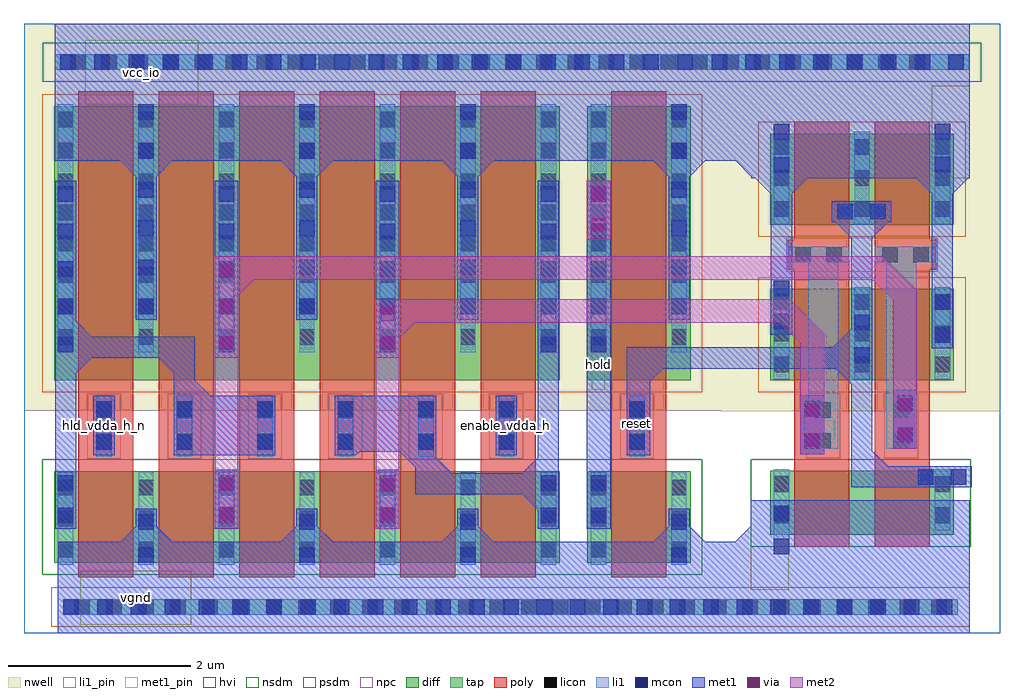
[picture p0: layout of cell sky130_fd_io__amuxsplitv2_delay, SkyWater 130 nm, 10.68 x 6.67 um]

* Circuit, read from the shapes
.subckt sky130_fd_io__amuxsplitv2_delay enable_vdda_h hld_vdda_h_n hold reset vcc_io vgnd
XM1 vgnd hld_vdda_h_n n1 vgnd sky130_fd_pr__nfet_g5v0d10v5 w=1 l=0.6
XM2 n2 n1 vgnd vgnd sky130_fd_pr__nfet_g5v0d10v5 w=1 l=0.6 m=2
XM3 sky130_fd_io__amuxsplitv2_hvsbt_nand2_0/in0 n3 vgnd vgnd sky130_fd_pr__nfet_g5v0d10v5 w=1 l=0.6 m=2
XM4 n3 enable_vdda_h vgnd vgnd sky130_fd_pr__nfet_g5v0d10v5 w=1 l=0.6
XM5 vgnd reset hold vgnd sky130_fd_pr__nfet_g5v0d10v5 w=1 l=0.6
XM6 n4 sky130_fd_io__amuxsplitv2_hvsbt_nand2_0/in0 vgnd vgnd sky130_fd_pr__nfet_g5v0d10v5 w=0.7 l=0.6
XM7 reset n2 n4 vgnd sky130_fd_pr__nfet_g5v0d10v5 w=0.7 l=0.6
XM8 vcc_io hld_vdda_h_n n1 vcc_io sky130_fd_pr__pfet_g5v0d10v5 w=3 l=0.6
XM9 n2 n1 vcc_io vcc_io sky130_fd_pr__pfet_g5v0d10v5 w=3 l=0.6 m=2
XM10 sky130_fd_io__amuxsplitv2_hvsbt_nand2_0/in0 n3 vcc_io vcc_io sky130_fd_pr__pfet_g5v0d10v5 w=3 l=0.6 m=2
XM11 n3 enable_vdda_h vcc_io vcc_io sky130_fd_pr__pfet_g5v0d10v5 w=3 l=0.6
XM12 vcc_io reset hold vcc_io sky130_fd_pr__pfet_g5v0d10v5 w=3 l=0.6
XM13 reset sky130_fd_io__amuxsplitv2_hvsbt_nand2_0/in0 vcc_io vcc_io sky130_fd_pr__pfet_g5v0d10v5 w=1 l=0.6 m=2
XM14 vcc_io n2 reset vcc_io sky130_fd_pr__pfet_g5v0d10v5 w=1 l=0.6 m=2
.ends

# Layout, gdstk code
from math import pi, radians
import gdstk
lib = gdstk.Library(unit=1e-6, precision=1e-09)
def R(c, l, rs):  # rectangles x0, y0, x1, y1
    for r in rs: c.add(gdstk.rectangle(r[:2], r[2:], *l))
def A(c, l, x, y, w, h, nx, ny, dx, dy):  # array of equal rectangles
    R(c, l, [(x+i*dx, y+j*dy, x+i*dx+w, y+j*dy+h) for i in range(nx) for j in range(ny)])
def P(c, l, *ps):  # polygons
    for p in ps: c.add(gdstk.Polygon(p, *l))
nwell = (64, 20)
diff = (65, 20)
tap = (65, 44)
poly = (66, 20)
licon = (66, 44)
li1_pin = (67, 16)
li1 = (67, 20)
mcon = (67, 44)
met1_pin = (68, 16)
met1 = (68, 20)
via = (68, 44)
met2 = (69, 20)
hvi = (75, 20)
nsdm = (93, 44)
psdm = (94, 20)
npc = (95, 20)

dfl1sd_cdns_559591418086 = lib.new_cell('DFL1sd_CDNS_559591418086')
R(dfl1sd_cdns_559591418086, nwell, [(-0.18,-0.18,0.445,1.18)])
R(dfl1sd_cdns_559591418086, diff, [(0,0,0.265,1)])
A(dfl1sd_cdns_559591418086, licon, 0.055, 0.06, 0.17, 0.17, 1, 3, 0, 0.34)
R(dfl1sd_cdns_559591418086, li1, [(0.055,-0.02,0.225,0.99)])
R(dfl1sd_cdns_559591418086, psdm, [(-0.13,-0.13,0.395,1.13)])

pfet_cdns_559591418085 = lib.new_cell('pfet_CDNS_559591418085')
R(pfet_cdns_559591418085, nwell, [(-0.595,-0.33,1.195,1.33), (-0.445,-0.18,1.045,1.18)])
R(pfet_cdns_559591418085, diff, [(-0.25,0,0,1), (0,0,0.6,1), (0.6,0,0.85,1)])
R(pfet_cdns_559591418085, poly, [(0,-0.13,0.6,1.13), (0,-0.13,0.6,0), (0,1,0.6,1.13)])
R(pfet_cdns_559591418085, li1, [(-0.225,-0.02,-0.055,0.99), (0.655,-0.02,0.825,0.99)])
R(pfet_cdns_559591418085, hvi, [(-0.595,-0.33,1.195,1.33)])
R(pfet_cdns_559591418085, psdm, [(-0.25,-0.13,0.85,1.13)])
pfet_cdns_559591418085.add(gdstk.Reference(dfl1sd_cdns_559591418086, (0.6,0)))
pfet_cdns_559591418085.add(gdstk.Reference(dfl1sd_cdns_559591418086, (0,0), rotation=pi, x_reflection=True))
pfet_cdns_559591418085.add(gdstk.Label('D', (0.74,0.485), layer=83, texttype=44))
pfet_cdns_559591418085.add(gdstk.Label('S', (-0.14,0.485), layer=83, texttype=44))

dfl1sd_cdns_559591418088 = lib.new_cell('DFL1sd_CDNS_559591418088')
R(dfl1sd_cdns_559591418088, diff, [(0,0,0.265,0.7)])
R(dfl1sd_cdns_559591418088, licon, [(0.055,0.06,0.225,0.23), (0.055,0.4,0.225,0.57)])
R(dfl1sd_cdns_559591418088, li1, [(0.055,-0.02,0.225,0.65)])
R(dfl1sd_cdns_559591418088, nsdm, [(-0.13,-0.13,0.395,0.83)])

nfet_cdns_559591418087 = lib.new_cell('nfet_CDNS_559591418087')
R(nfet_cdns_559591418087, diff, [(-0.25,0,0,0.7), (0,0,0.6,0.7), (0.6,0,0.85,0.7)])
R(nfet_cdns_559591418087, poly, [(0,-0.13,0.6,0.83), (0,-0.13,0.6,0), (0,0.7,0.6,0.83)])
R(nfet_cdns_559591418087, li1, [(0.655,-0.02,0.825,0.65)])
R(nfet_cdns_559591418087, hvi, [(-0.43,-0.18,1.045,0.88)])
R(nfet_cdns_559591418087, nsdm, [(-0.38,-0.13,0.85,0.83)])
nfet_cdns_559591418087.add(gdstk.Reference(dfl1sd_cdns_559591418088, (0.6,0)))
nfet_cdns_559591418087.add(gdstk.Label('D', (0.74,0.315), layer=83, texttype=44))
nfet_cdns_559591418087.add(gdstk.Label('S', (-0.125,0.35), layer=83, texttype=44))

nfet_cdns_559591418089 = lib.new_cell('nfet_CDNS_559591418089')
R(nfet_cdns_559591418089, diff, [(-0.25,0,0,0.7), (0,0,0.6,0.7), (0.6,0,0.85,0.7)])
R(nfet_cdns_559591418089, poly, [(0,-0.13,0.6,0.83), (0,-0.13,0.6,0), (0,0.7,0.6,0.83)])
R(nfet_cdns_559591418089, li1, [(-0.225,-0.02,-0.055,0.65)])
R(nfet_cdns_559591418089, hvi, [(-0.445,-0.18,1.03,0.88)])
R(nfet_cdns_559591418089, nsdm, [(-0.25,-0.13,0.98,0.83)])
nfet_cdns_559591418089.add(gdstk.Reference(dfl1sd_cdns_559591418088, (0,0), rotation=pi, x_reflection=True))
nfet_cdns_559591418089.add(gdstk.Label('D', (0.725,0.35), layer=83, texttype=44))
nfet_cdns_559591418089.add(gdstk.Label('S', (-0.14,0.315), layer=83, texttype=44))

pyl1_cdns_559591418083 = lib.new_cell('PYL1_CDNS_559591418083')
R(pyl1_cdns_559591418083, poly, [(0,0,0.67,0.33)])
R(pyl1_cdns_559591418083, licon, [(0.08,0.08,0.25,0.25), (0.42,0.08,0.59,0.25)])
R(pyl1_cdns_559591418083, li1, [(0.08,0,0.59,0.33)])
R(pyl1_cdns_559591418083, npc, [(-0.02,-0.02,0.69,0.35)])

l1m1_cdns_559591418084 = lib.new_cell('L1M1_CDNS_559591418084')
R(l1m1_cdns_559591418084, li1, [(0,0,0.53,0.17)])
R(l1m1_cdns_559591418084, mcon, [(0,0,0.17,0.17), (0.36,0,0.53,0.17)])
R(l1m1_cdns_559591418084, met1, [(-0.06,-0.03,0.59,0.2)])

sky130_fd_io__amuxsplitv = lib.new_cell('sky130_fd_io__amuxsplitv2_hvsbt_nand2')
R(sky130_fd_io__amuxsplitv, nwell, [(-0.21,2.075,2.845,5.61)])
R(sky130_fd_io__amuxsplitv, poly, [(0.595,1.53,1.195,2.48), (1.475,1.55,2.075,2.48), (0.595,3.54,1.195,3.62), (1.475,3.54,2.075,3.62), (0.525,3.62,1.195,3.95), (1.475,3.62,2.145,3.95), (0.595,3.95,1.195,3.995), (1.475,3.95,2.075,3.99)])
R(sky130_fd_io__amuxsplitv, licon, [(0.605,3.7,0.775,3.87), (0.945,3.7,1.115,3.87), (1.555,3.7,1.725,3.87), (1.895,3.7,2.065,3.87)])
R(sky130_fd_io__amuxsplitv, li1_pin, [(0.78,1.765,1.035,1.97)])
R(sky130_fd_io__amuxsplitv, li1, [(1.945,1.27,2.475,1.44), (0.745,2.095,1.075,3.785), (1.6,2.095,1.93,3.785), (1.25,2.6,1.42,3.13), (2.13,2.82,2.3,3.35), (0.37,2.97,0.54,3.5), (0.525,3.7,1.195,3.87), (1.475,3.7,2.145,3.87), (1.065,4.17,1.595,4.34), (2.13,4.6,2.3,5.215), (0.37,4.62,0.54,5.215), (0.37,4.68,0.54,5.21)])
R(sky130_fd_io__amuxsplitv, mcon, [(1.945,1.27,2.115,1.44), (2.305,1.27,2.475,1.44), (1.25,2.6,1.42,2.77), (2.13,2.82,2.3,2.99), (1.25,2.96,1.42,3.13), (0.37,2.97,0.54,3.14), (2.13,3.18,2.3,3.35), (0.37,3.33,0.54,3.5), (1.065,4.17,1.235,4.34), (1.425,4.17,1.595,4.34), (0.37,4.68,0.54,4.85), (0.37,5.04,0.54,5.21)])
R(sky130_fd_io__amuxsplitv, met1_pin, [(0.12,0.12,0.535,1.1), (2.1,4.62,2.515,5.635)])
R(sky130_fd_io__amuxsplitv, met1, [(0.12,0.12,2.515,1.1), (1.22,1.24,1.91,1.47), (1.885,1.24,2.535,1.47), (1.22,1.33,1.45,4.37), (1.22,2.54,1.45,3.19), (2.1,2.76,2.33,3.41), (0.34,2.91,0.57,3.56), (2.1,3.28,2.33,4.825), (0.34,3.465,0.57,4.68), (1.005,4.14,1.655,4.37), (0.125,4.62,2.515,5.635), (0.34,4.62,0.57,5.27)])
R(sky130_fd_io__amuxsplitv, hvi, [(-0.21,0,2.845,5.61)])
R(sky130_fd_io__amuxsplitv, nsdm, [(0.12,0.59,2.525,1.55)])
R(sky130_fd_io__amuxsplitv, npc, [(0.505,3.6,1.215,3.97), (1.455,3.6,2.165,3.97)])
sky130_fd_io__amuxsplitv.add(gdstk.Reference(pfet_cdns_559591418085, (1.475,3.41), x_reflection=True))
sky130_fd_io__amuxsplitv.add(gdstk.Reference(pfet_cdns_559591418085, (0.595,3.41), x_reflection=True))
sky130_fd_io__amuxsplitv.add(gdstk.Reference(pfet_cdns_559591418085, (1.475,5.11), x_reflection=True))
sky130_fd_io__amuxsplitv.add(gdstk.Reference(pfet_cdns_559591418085, (0.595,5.11), x_reflection=True))
sky130_fd_io__amuxsplitv.add(gdstk.Reference(nfet_cdns_559591418087, (1.475,1.42), x_reflection=True))
sky130_fd_io__amuxsplitv.add(gdstk.Reference(nfet_cdns_559591418089, (0.595,1.42), x_reflection=True))
sky130_fd_io__amuxsplitv.add(gdstk.Reference(pyl1_cdns_559591418083, (1.075,1.58), rotation=pi/2))
sky130_fd_io__amuxsplitv.add(gdstk.Reference(pyl1_cdns_559591418083, (1.93,1.58), rotation=pi/2))
sky130_fd_io__amuxsplitv.add(gdstk.Reference(l1m1_cdns_559591418084, (0.54,1.04), rotation=3*pi/2, x_reflection=True))
sky130_fd_io__amuxsplitv.add(gdstk.Reference(l1m1_cdns_559591418084, (2.3,4.685), rotation=pi/2))
sky130_fd_io__amuxsplitv.add(gdstk.Label('vgnd', (0.37,0.685), layer=68, texttype=5))
sky130_fd_io__amuxsplitv.add(gdstk.Label('vpwr', (2.23,5.13), layer=68, texttype=5))
sky130_fd_io__amuxsplitv.add(gdstk.Label('in0', (0.905,1.87), layer=67, texttype=5))

dfl1sd_cdns_559591418081 = lib.new_cell('DFL1sd_CDNS_5595914180811')
R(dfl1sd_cdns_559591418081, nwell, [(-0.18,-0.18,0.445,3.18)])
R(dfl1sd_cdns_559591418081, diff, [(0,0,0.265,3)])
A(dfl1sd_cdns_559591418081, licon, 0.055, 0.06, 0.17, 0.17, 1, 8, 0, 0.34)
R(dfl1sd_cdns_559591418081, li1, [(0.055,-0.02,0.225,2.69)])
R(dfl1sd_cdns_559591418081, psdm, [(-0.13,-0.13,0.395,3.13)])

dfl1sd2_cdns_55959141808 = lib.new_cell('DFL1sd2_CDNS_5595914180812')
R(dfl1sd2_cdns_55959141808, nwell, [(-0.18,-0.18,0.46,3.18)])
R(dfl1sd2_cdns_55959141808, diff, [(0,0,0.28,3)])
A(dfl1sd2_cdns_55959141808, licon, 0.055, 0.06, 0.17, 0.17, 1, 8, 0, 0.34)
R(dfl1sd2_cdns_55959141808, li1, [(0.055,-0.02,0.225,2.69)])
R(dfl1sd2_cdns_55959141808, psdm, [(-0.13,-0.13,0.41,3.13)])

pfet_cdns_5595914180810 = lib.new_cell('pfet_CDNS_5595914180810')
R(pfet_cdns_5595914180810, nwell, [(-0.595,-0.33,2.075,3.33), (-0.445,-0.18,1.925,3.18)])
R(pfet_cdns_5595914180810, diff, [(-0.25,0,0,3), (0,0,0.6,3), (0.88,0,1.48,3), (1.48,0,1.73,3)])
R(pfet_cdns_5595914180810, poly, [(0,-0.16,0.6,3.16), (0,-0.16,0.6,0), (0.88,-0.16,1.48,3.16), (0.88,-0.16,1.48,0), (0,3,0.6,3.16), (0.88,3,1.48,3.16)])
A(pfet_cdns_5595914180810, li1, -0.225, -0.02, 0.17, 2.71, 3, 1, 0.88, 0)
R(pfet_cdns_5595914180810, hvi, [(-0.595,-0.33,2.075,3.33)])
R(pfet_cdns_5595914180810, psdm, [(-0.25,-0.13,0.6,3.13), (0.63,-0.13,1.73,3.13)])
pfet_cdns_5595914180810.add(gdstk.Reference(dfl1sd_cdns_559591418081, (1.48,0)))
pfet_cdns_5595914180810.add(gdstk.Reference(dfl1sd_cdns_559591418081, (0,0), rotation=pi, x_reflection=True))
pfet_cdns_5595914180810.add(gdstk.Reference(dfl1sd2_cdns_55959141808, (0.6,0)))
pfet_cdns_5595914180810.add(gdstk.Label('S', (1.62,1.335), layer=83, texttype=44))
pfet_cdns_5595914180810.add(gdstk.Label('D', (0.74,1.335), layer=83, texttype=44))
pfet_cdns_5595914180810.add(gdstk.Label('S', (-0.14,1.335), layer=83, texttype=44))

pfet_cdns_5595914180813 = lib.new_cell('pfet_CDNS_5595914180813')
R(pfet_cdns_5595914180813, nwell, [(-0.595,-0.33,1.195,3.33), (-0.445,-0.18,1.045,3.18)])
R(pfet_cdns_5595914180813, diff, [(-0.25,0,0,3), (0,0,0.6,3), (0.6,0,0.85,3)])
R(pfet_cdns_5595914180813, poly, [(0,-0.16,0.6,3.16), (0,-0.16,0.6,0), (0,3,0.6,3.16)])
R(pfet_cdns_5595914180813, li1, [(-0.225,-0.02,-0.055,2.69), (0.655,-0.02,0.825,2.69)])
R(pfet_cdns_5595914180813, hvi, [(-0.595,-0.33,1.195,3.33)])
R(pfet_cdns_5595914180813, psdm, [(-0.25,-0.13,0.85,3.13)])
pfet_cdns_5595914180813.add(gdstk.Reference(dfl1sd_cdns_559591418081, (0.6,0)))
pfet_cdns_5595914180813.add(gdstk.Reference(dfl1sd_cdns_559591418081, (0,0), rotation=pi, x_reflection=True))
pfet_cdns_5595914180813.add(gdstk.Label('D', (0.74,1.335), layer=83, texttype=44))
pfet_cdns_5595914180813.add(gdstk.Label('S', (-0.14,1.335), layer=83, texttype=44))

c_dfl1sd_cdns_559591418081 = lib.new_cell('DFL1sd_CDNS_5595914180815')
R(c_dfl1sd_cdns_559591418081, diff, [(0,0,0.265,1)])
A(c_dfl1sd_cdns_559591418081, licon, 0.055, 0.06, 0.17, 0.17, 1, 3, 0, 0.34)
R(c_dfl1sd_cdns_559591418081, li1, [(0.055,-0.02,0.225,0.99)])
R(c_dfl1sd_cdns_559591418081, nsdm, [(-0.13,-0.13,0.395,1.13)])

c_dfl1sd2_cdns_55959141808 = lib.new_cell('DFL1sd2_CDNS_5595914180816')
R(c_dfl1sd2_cdns_55959141808, diff, [(0,0,0.28,1)])
A(c_dfl1sd2_cdns_55959141808, licon, 0.055, 0.06, 0.17, 0.17, 1, 3, 0, 0.34)
R(c_dfl1sd2_cdns_55959141808, li1, [(0.055,-0.02,0.225,0.99)])
R(c_dfl1sd2_cdns_55959141808, nsdm, [(-0.13,-0.13,0.41,1.13)])

nfet_cdns_5595914180814 = lib.new_cell('nfet_CDNS_5595914180814')
R(nfet_cdns_5595914180814, diff, [(-0.25,0,0,1), (0,0,0.6,1), (0.88,0,1.48,1), (1.48,0,1.73,1)])
R(nfet_cdns_5595914180814, poly, [(0,-0.16,0.6,1.16), (0,-0.16,0.6,0), (0.88,-0.16,1.48,1.16), (0.88,-0.16,1.48,0), (0,1,0.6,1.16), (0.88,1,1.48,1.16)])
A(nfet_cdns_5595914180814, li1, -0.225, -0.02, 0.17, 1.01, 3, 1, 0.88, 0)
R(nfet_cdns_5595914180814, hvi, [(-0.445,-0.18,1.925,1.18)])
R(nfet_cdns_5595914180814, nsdm, [(-0.25,-0.13,0.6,1.13), (0.63,-0.13,1.73,1.13)])
nfet_cdns_5595914180814.add(gdstk.Reference(c_dfl1sd_cdns_559591418081, (1.48,0)))
nfet_cdns_5595914180814.add(gdstk.Reference(c_dfl1sd_cdns_559591418081, (0,0), rotation=pi, x_reflection=True))
nfet_cdns_5595914180814.add(gdstk.Reference(c_dfl1sd2_cdns_55959141808, (0.6,0)))
nfet_cdns_5595914180814.add(gdstk.Label('S', (1.62,0.485), layer=83, texttype=44))
nfet_cdns_5595914180814.add(gdstk.Label('D', (0.74,0.485), layer=83, texttype=44))
nfet_cdns_5595914180814.add(gdstk.Label('S', (-0.14,0.485), layer=83, texttype=44))

nfet_cdns_5595914180817 = lib.new_cell('nfet_CDNS_5595914180817')
R(nfet_cdns_5595914180817, diff, [(-0.25,0,0,1), (0,0,0.6,1), (0.6,0,0.85,1)])
R(nfet_cdns_5595914180817, poly, [(0,-0.16,0.6,1.16), (0,-0.16,0.6,0), (0,1,0.6,1.16)])
R(nfet_cdns_5595914180817, li1, [(-0.225,-0.02,-0.055,0.99), (0.655,-0.02,0.825,0.99)])
R(nfet_cdns_5595914180817, hvi, [(-0.445,-0.18,1.045,1.18)])
R(nfet_cdns_5595914180817, nsdm, [(-0.25,-0.13,0.85,1.13)])
nfet_cdns_5595914180817.add(gdstk.Reference(c_dfl1sd_cdns_559591418081, (0.6,0)))
nfet_cdns_5595914180817.add(gdstk.Reference(c_dfl1sd_cdns_559591418081, (0,0), rotation=pi, x_reflection=True))
nfet_cdns_5595914180817.add(gdstk.Label('D', (0.74,0.485), layer=83, texttype=44))
nfet_cdns_5595914180817.add(gdstk.Label('S', (-0.14,0.485), layer=83, texttype=44))

c_sky130_fd_io__amuxsplitv = lib.new_cell('sky130_fd_io__amuxsplitv2_delay')
R(c_sky130_fd_io__amuxsplitv, nwell, [(0,5.825,10.675,6.665)])
R(c_sky130_fd_io__amuxsplitv, tap, [(0.43,0.2,10.215,0.37), (0.335,6.16,10.34,6.33)])
A(c_sky130_fd_io__amuxsplitv, poly, 0.595, 1.925, 0.6, 0.68, 6, 1, 0.88, 0)
A(c_sky130_fd_io__amuxsplitv, poly, 0.71, 1.93, 0.33, 0.67, 6, 1, 0.88, 0)
R(c_sky130_fd_io__amuxsplitv, poly, [(6.425,1.925,7.025,2.605), (6.54,1.93,6.87,2.6)])
A(c_sky130_fd_io__amuxsplitv, licon, 0.55, 0.2, 0.17, 0.17, 13, 1, 0.35, 0)
A(c_sky130_fd_io__amuxsplitv, licon, 5.095, 0.2, 0.17, 0.17, 15, 1, 0.345, 0)
A(c_sky130_fd_io__amuxsplitv, licon, 0.79, 2.01, 0.17, 0.17, 6, 2, 0.88, 0.34)
A(c_sky130_fd_io__amuxsplitv, licon, 0.505, 6.16, 0.17, 0.17, 28, 1, 0.34, 0)
R(c_sky130_fd_io__amuxsplitv, licon, [(6.62,2.01,6.79,2.18), (6.62,2.35,6.79,2.52)])
A(c_sky130_fd_io__amuxsplitv, li1, 1.25, 0.77, 0.17, 0.53, 3, 1, 1.76, 0)
A(c_sky130_fd_io__amuxsplitv, li1, 0.37, 1.2, 0.17, 0.53, 4, 1, 1.76, 0)
A(c_sky130_fd_io__amuxsplitv, li1, 0.79, 1.93, 0.17, 0.67, 6, 1, 0.88, 0)
A(c_sky130_fd_io__amuxsplitv, li1, 0.79, 2.005, 0.17, 0.53, 6, 1, 0.88, 0)
A(c_sky130_fd_io__amuxsplitv, li1, 0.37, 3.075, 0.17, 1.815, 4, 1, 1.76, 0)
A(c_sky130_fd_io__amuxsplitv, li1, 1.25, 3.49, 0.17, 2.295, 3, 1, 1.76, 0)
R(c_sky130_fd_io__amuxsplitv, li1, [(0.43,0.2,10.155,0.37), (0.43,0.2,10.215,0.37), (7.08,0.77,7.25,1.3), (6.2,1.2,6.37,1.73), (6.62,1.93,6.79,2.6), (6.62,2.005,6.79,2.535), (8.535,2.015,8.705,2.545), (9.55,2.075,9.72,2.605), (6.2,3.075,6.37,4.89), (7.08,3.49,7.25,5.785), (0.335,6.16,10.34,6.33), (0.395,6.16,10.28,6.33)])
A(c_sky130_fd_io__amuxsplitv, mcon, 0.43, 0.2, 0.17, 0.17, 14, 1, 0.37, 0)
A(c_sky130_fd_io__amuxsplitv, mcon, 5.605, 0.2, 0.17, 0.17, 13, 1, 0.365, 0)
A(c_sky130_fd_io__amuxsplitv, mcon, 1.25, 0.77, 0.17, 0.17, 3, 2, 1.76, 0.36)
A(c_sky130_fd_io__amuxsplitv, mcon, 0.37, 1.2, 0.17, 0.17, 4, 2, 1.76, 0.36)
A(c_sky130_fd_io__amuxsplitv, mcon, 0.79, 2.005, 0.17, 0.17, 6, 2, 0.88, 0.36)
A(c_sky130_fd_io__amuxsplitv, mcon, 0.37, 3.075, 0.17, 0.17, 4, 2, 1.76, 0.825)
A(c_sky130_fd_io__amuxsplitv, mcon, 0.37, 3.49, 0.17, 0.17, 7, 1, 0.88, 0)
A(c_sky130_fd_io__amuxsplitv, mcon, 6.2, 3.49, 0.17, 0.17, 1, 4, 0, 0.41)
A(c_sky130_fd_io__amuxsplitv, mcon, 7.08, 3.49, 0.17, 0.17, 1, 6, 0, 0.425)
A(c_sky130_fd_io__amuxsplitv, mcon, 1.25, 3.915, 0.17, 0.17, 3, 5, 1.76, 0.425)
A(c_sky130_fd_io__amuxsplitv, mcon, 0.37, 4.31, 0.17, 0.17, 4, 2, 1.76, 0.41)
A(c_sky130_fd_io__amuxsplitv, mcon, 0.395, 6.16, 0.17, 0.17, 20, 1, 0.375, 0)
A(c_sky130_fd_io__amuxsplitv, mcon, 7.89, 6.16, 0.17, 0.17, 7, 1, 0.37, 0)
R(c_sky130_fd_io__amuxsplitv, mcon, [(7.08,0.77,7.25,0.94), (7.08,1.13,7.25,1.3), (6.2,1.2,6.37,1.37), (6.2,1.56,6.37,1.73), (6.62,2.005,6.79,2.175), (8.535,2.015,8.705,2.185), (9.55,2.075,9.72,2.245), (6.62,2.365,6.79,2.535), (8.535,2.375,8.705,2.545), (9.55,2.435,9.72,2.605), (6.2,3.075,6.37,3.245)])
R(c_sky130_fd_io__amuxsplitv, met1_pin, [(0.615,0.095,1.83,0.685), (0.795,2.015,0.96,2.52), (5.195,2.055,5.34,2.49), (6.63,2.09,6.76,2.5), (6.21,2.665,6.35,3.2), (0.67,5.78,1.905,6.485)])
A(c_sky130_fd_io__amuxsplitv, met1, 1.22, 0.71, 0.23, 0.65, 3, 1, 1.76, 0)
A(c_sky130_fd_io__amuxsplitv, met1, 0.34, 1.14, 0.23, 0.65, 4, 1, 1.76, 0)
A(c_sky130_fd_io__amuxsplitv, met1, 0.76, 1.945, 0.23, 0.65, 6, 1, 0.88, 0)
A(c_sky130_fd_io__amuxsplitv, met1, 0.34, 3.015, 0.23, 1.935, 4, 1, 1.76, 0)
A(c_sky130_fd_io__amuxsplitv, met1, 1.22, 3.43, 0.23, 2.415, 3, 1, 1.76, 0)
R(c_sky130_fd_io__amuxsplitv, met1, [(0.37,0.17,10.215,0.4), (7.05,0.71,7.28,1.36), (2.085,1.14,2.345,1.185), (3.845,1.14,4.105,1.78), (3.845,1.14,4.105,1.245), (6.155,1.14,6.415,4.39), (6.17,1.14,6.4,1.79), (2.085,1.15,2.345,1.79), (3.845,1.71,4.105,1.79), (6.59,1.945,6.82,2.595), (8.49,1.955,8.75,2.595), (8.505,1.955,8.735,2.605), (9.505,2.015,9.765,2.655), (9.52,2.015,9.75,2.665), (8.49,2.425,8.75,2.605), (9.505,2.48,9.765,2.615), (9.505,2.52,9.765,2.665), (2.085,3.015,2.345,4.125), (3.845,3.015,4.105,3.655), (6.17,3.015,6.4,4.95), (7.05,3.43,7.28,5.845), (2.085,3.505,2.345,4.95), (3.845,3.505,4.105,4.95), (6.155,4.31,6.415,4.95), (0.335,6.13,10.34,6.36)])
P(c_sky130_fd_io__amuxsplitv, met1, [(2.62,2.595),(2.04,2.595),(1.87,2.765),(1.87,3.245),(0.74,3.245),(0.57,3.415),(0.57,3.245),(0.34,3.245),(0.34,1.51),(0.57,1.51),(0.57,2.845),(0.74,3.015),(1.47,3.015),(1.64,2.845),(1.64,2.545),(1.81,2.545),(1.81,1.945),(2.62,1.945)],
  [(9.28,4.495),(9.28,4.325),(9.45,4.495)],
  [(5.85,3.065),(5.62,3.065),(5.62,1.92),(5.45,1.75),(4.68,1.75),(4.51,1.92),(4.51,2.22),(4.3,2.22),(4.3,2.595),(3.615,2.595),(3.615,1.985),(3.63,1.985),(3.63,1.945),(3.67,1.985),(4.11,1.985),(4.28,1.815),(4.28,1.52),(5.45,1.52),(5.62,1.35),(5.62,1.46),(5.85,1.46)],
  [(9.245,3.125),(9.05,3.125),(9.05,3.33),(8.845,3.125),(6.59,3.125),(6.59,1.945),(6.85,1.945),(6.85,2.755),(6.99,2.895),(9.245,2.895)],
  [(10.345,6.665),(0.335,6.665),(0.335,5.165),(1.05,5.165),(1.22,4.995),(1.22,5.165),(1.45,5.165),(1.45,4.995),(1.62,5.165),(2.81,5.165),(2.98,4.995),(2.98,5.165),(3.21,5.165),(3.21,4.995),(3.38,5.165),(4.57,5.165),(4.74,4.995),(4.74,5.165),(4.97,5.165),(4.97,4.995),(5.14,5.165),(6.88,5.165),(7.05,4.995),(7.05,5.165),(7.28,5.165),(7.28,4.995),(7.45,5.165),(7.785,5.165),(7.955,4.995),(7.955,5.165),(10.345,5.165)],
  [(10.345,1),(7.95,1),(7.95,1.17),(7.78,1),(7.45,1),(7.28,1.17),(7.28,1),(7.05,1),(7.05,1.17),(6.88,1),(5.14,1),(4.97,1.17),(4.97,1),(4.74,1),(4.74,1.17),(4.57,1),(3.38,1),(3.21,1.17),(3.21,1),(2.98,1),(2.98,1.17),(2.81,1),(1.62,1),(1.45,1.17),(1.45,1),(1.22,1),(1.22,1.17),(1.05,1),(0.37,1),(0.37,0),(10.345,0)],
  [(9.05,2.895),(9.05,2.725),(8.88,2.895)],
  [(9.28,1.825),(9.28,1.995),(9.45,1.825)],
  [(9.93,4.975),(9.93,4.805),(9.76,4.975)],
  [(9.05,4.495),(9.05,4.325),(8.88,4.495)],
  [(8.4,4.975),(8.4,4.805),(8.57,4.975)],
  [(8.17,4.975),(8.17,4.805),(8,4.975)],
  [(10.16,4.975),(10.16,4.805),(10.33,4.975)])
A(c_sky130_fd_io__amuxsplitv, via, 2.14, 3.1, 0.15, 0.15, 1, 3, 0, 0.395)
R(c_sky130_fd_io__amuxsplitv, via, [(3.9,1.225,4.05,1.375), (2.14,1.235,2.29,1.385), (3.9,1.545,4.05,1.695), (2.14,1.555,2.29,1.705), (8.545,2.04,8.695,2.19), (9.56,2.1,9.71,2.25), (8.545,2.36,8.695,2.51), (9.56,2.42,9.71,2.57), (3.9,3.1,4.05,3.25), (3.9,3.42,4.05,3.57), (6.21,4.395,6.36,4.545), (6.21,4.715,6.36,4.865)])
R(c_sky130_fd_io__amuxsplitv, met2, [(3.845,1.14,4.105,1.78), (2.085,1.15,2.345,1.79), (2.085,1.475,2.345,3.07), (3.845,1.475,4.105,3.07), (8.49,1.955,8.75,2.595), (9.505,2.015,9.765,2.655), (2.085,3.015,2.345,4.125), (3.845,3.015,4.105,3.655), (6.155,4.31,6.415,4.95)])
P(c_sky130_fd_io__amuxsplitv, met2, [(8.75,3.28),(8.375,3.655),(4.09,3.655),(4.09,3.395),(4.105,3.395),(4.105,3.225),(4.275,3.395),(8.265,3.395),(8.49,3.17),(8.49,2.445),(8.75,2.445)],
  [(9.765,3.75),(9.39,4.125),(2.205,4.125),(2.205,3.865),(2.345,3.865),(2.345,3.695),(2.515,3.865),(9.28,3.865),(9.505,3.64),(9.505,2.4),(9.765,2.4)])
R(c_sky130_fd_io__amuxsplitv, hvi, [(0,0,10.675,6.665)])
R(c_sky130_fd_io__amuxsplitv, nsdm, [(5.98,0.64,6.04,1.9), (0.205,6.03,10.47,6.46)])
R(c_sky130_fd_io__amuxsplitv, psdm, [(0.3,0.07,10.345,0.5), (5.965,2.635,6.065,5.895)])
A(c_sky130_fd_io__amuxsplitv, npc, 0.69, 1.91, 0.37, 0.71, 6, 1, 0.88, 0)
R(c_sky130_fd_io__amuxsplitv, npc, [(6.52,1.91,6.89,2.62), (9.01,3.955,9.315,4.325)])
c_sky130_fd_io__amuxsplitv.add(gdstk.Reference(sky130_fd_io__amuxsplitv, (7.83,0.355)))
c_sky130_fd_io__amuxsplitv.add(gdstk.Reference(pfet_cdns_5595914180810, (4.715,5.765), rotation=pi))
c_sky130_fd_io__amuxsplitv.add(gdstk.Reference(pfet_cdns_5595914180810, (1.475,5.765), x_reflection=True))
c_sky130_fd_io__amuxsplitv.add(gdstk.Reference(pfet_cdns_5595914180813, (6.425,5.765), x_reflection=True))
c_sky130_fd_io__amuxsplitv.add(gdstk.Reference(pfet_cdns_5595914180813, (5.595,5.765), rotation=pi))
c_sky130_fd_io__amuxsplitv.add(gdstk.Reference(pfet_cdns_5595914180813, (0.595,5.765), x_reflection=True))
c_sky130_fd_io__amuxsplitv.add(gdstk.Reference(nfet_cdns_5595914180814, (4.715,0.77), rotation=pi, x_reflection=True))
c_sky130_fd_io__amuxsplitv.add(gdstk.Reference(nfet_cdns_5595914180814, (1.475,0.77)))
c_sky130_fd_io__amuxsplitv.add(gdstk.Reference(nfet_cdns_5595914180817, (6.425,0.77)))
c_sky130_fd_io__amuxsplitv.add(gdstk.Reference(nfet_cdns_5595914180817, (5.595,0.77), rotation=pi, x_reflection=True))
c_sky130_fd_io__amuxsplitv.add(gdstk.Reference(nfet_cdns_5595914180817, (0.595,0.77)))
c_sky130_fd_io__amuxsplitv.add(gdstk.Label('enable_vdda_h', (5.27,2.275), layer=68, texttype=5))
c_sky130_fd_io__amuxsplitv.add(gdstk.Label('hold', (6.28,2.935), layer=68, texttype=5))
c_sky130_fd_io__amuxsplitv.add(gdstk.Label('reset', (6.695,2.295), layer=68, texttype=5))
c_sky130_fd_io__amuxsplitv.add(gdstk.Label('vcc_io', (1.285,6.135), layer=68, texttype=5))
c_sky130_fd_io__amuxsplitv.add(gdstk.Label('vgnd', (1.225,0.39), layer=68, texttype=5))
c_sky130_fd_io__amuxsplitv.add(gdstk.Label('hld_vdda_h_n', (0.88,2.27), layer=68, texttype=5))

lib.write_gds('sky130_fd_io__amuxsplitv2_delay.gds')
